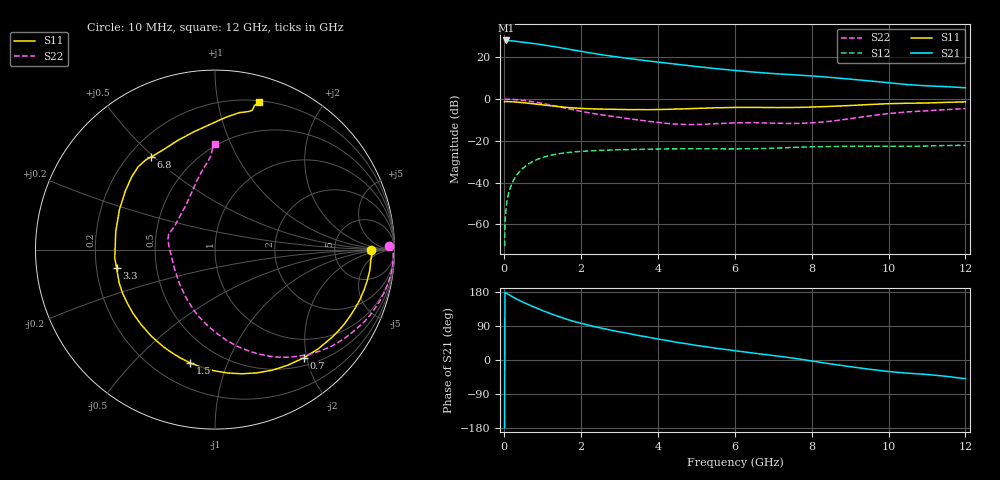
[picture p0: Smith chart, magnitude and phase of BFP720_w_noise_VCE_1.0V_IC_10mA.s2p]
! Infineon Technologies  Discrete & RF Semiconductors
! BFP720
! VCE =  1.0 V,  IC =  10 mA
! Common Emitter S-Parameters:  Aug 2012
# GHz  S  MA  R  50
!  f  S11  S21  S12  S22
! GHz  MAG  ANG  MAG  ANG  MAG  ANG  MAG  ANG
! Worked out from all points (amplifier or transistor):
!   105 points, 10 MHz to 12 GHz, reference 50 ohm
!   highest |S21| = 28.0 dB at 50 MHz (marker M1)
!   |S21| within 3 dB of that: start of sweep to 1.308 GHz
!   unconditionally stable (mu >= 1): 5.661 GHz to 11.77 GHz
!   at 300 MHz: K = 0.09, MSG = 32.4 dB, |S12| = -37.1 dB
!   at 3.6 GHz: K = 0.69, MSG = 21.3 dB, |S12| = -24.1 dB
!   at 12 GHz: K = 0.95, MSG = 13.8 dB, |S12| = -22.2 dB
!   lowest NFmin = 0.53 dB at 450 MHz
!   S11 on the Smith chart (normalised r, x): 10 MHz: 14, -0; 700 MHz: 0.63, -1.95; 1.5 GHz: 0.34, -0.75; 3.3 GHz: 0.29, -0.09; 6.8 GHz: 0.29, +0.49; 12 GHz: 0.22, +1.32
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0.01  0.8665 -0.2  24.76 -179.6  0.0003 -127.8  0.9701 1.2
0.02  0.8757 -1.5  24.91 178.6  0.001 91.1  0.9925 -0.8
0.05  0.87 -3.8  25.25 176.7  0.0025 90.9  0.9939 -2.4
0.15  0.8657 -11.5  24.96 170.6  0.0071 83.2  0.9896 -7.9
0.25  0.8542 -18.9  24.41 164.8  0.0117 79.3  0.9765 -13.1
0.4  0.8319 -29.7  23.48 157.0  0.0184 73.5  0.947 -20.7
0.7  0.7799 -50.7  21.64 143.1  0.0304 62.4  0.8725 -34.9
0.9  0.7437 -64.6  20.47 134.6  0.037 55.7  0.8143 -43.9
1.1  0.7079 -77.8  19.18 126.5  0.0425 49.3  0.7517 -52.3
1.3  0.675 -90.5  17.93 118.9  0.0469 43.8  0.69 -60.2
1.5  0.6465 -102.3  16.69 111.9  0.0503 38.9  0.6306 -67.3
1.8  0.6126 -118.1  14.94 102.3  0.054 32.5  0.5519 -77.1
2.1  0.5905 -130.9  13.38 94.3  0.0565 27.5  0.4882 -85.5
2.6  0.5724 -148.5  11.28 82.5  0.0594 21.0  0.4097 -98.3
3.3  0.558 -169.3  9.194 68.7  0.0619 14.3  0.3327 -115.0
4.1  0.5628 167.2  7.481 53.7  0.0636 8.2  0.269 -138.7
5  0.597 146.8  6.004 38.4  0.0642 2.7  0.2456 -171.6
6.1  0.6296 131.8  4.744 23.2  0.0641 -1.0  0.2695 165.9
6.8  0.6271 124.5  4.2 14.4  0.0656 -1.8  0.2674 158.0
8.5  0.6675 100.0  3.286 -10.4  0.0729 -9.6  0.2938 123.9
10.5  0.7924 76.2  2.212 -34.8  0.0734 -18.7  0.4921 94.6
12  0.8562 73.2  1.858 -49.3  0.0776 -25.2  0.5902 90.0
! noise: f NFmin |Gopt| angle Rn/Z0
0.45  0.53  0.29  1  0.21
1.8  0.58  0.26  18  0.12
2.4  0.64  0.23  38  0.29
5.5  0.78  0.11  20  0.14
10  0.97  0.4  -78  0.22
